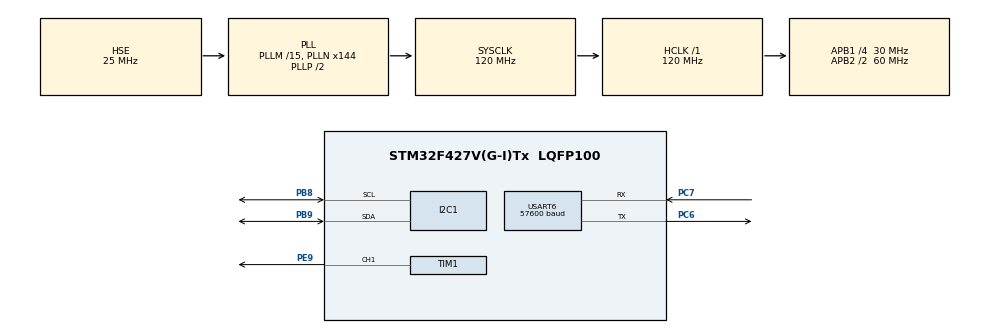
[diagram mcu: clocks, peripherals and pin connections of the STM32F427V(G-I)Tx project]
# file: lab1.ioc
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I2C1.I2C_Mode=I2C_Fast
Mcu.Family=STM32F4
Mcu.Name=STM32F427V(G-I)Tx
Mcu.Package=LQFP100
NVIC.PriorityGroup=NVIC_PRIORITYGROUP_4
NVIC.TIM6_DAC_IRQn=true\:0\:0\:false\:false\:true\:true\:true\:true
NVIC.USART6_IRQn=true\:0\:0\:false\:false\:true\:true\:true\:true
PA13.Mode=JTAG_5_pins
PA13.Signal=SYS_JTMS-SWDIO
PA14.Mode=JTAG_5_pins
PA14.Signal=SYS_JTCK-SWCLK
PA15.Mode=JTAG_5_pins
PA15.Signal=SYS_JTDI
PB3.Mode=JTAG_5_pins
PB3.Signal=SYS_JTDO-SWO
PB4.Mode=JTAG_5_pins
PB4.Signal=SYS_JTRST
PB8.Mode=I2C
PB8.Signal=I2C1_SCL
PB9.Mode=I2C
PB9.Signal=I2C1_SDA
PC6.Mode=Asynchronous
PC6.Signal=USART6_TX
PC7.Mode=Asynchronous
PC7.Signal=USART6_RX
PE9.Signal=S_TIM1_CH1
PH0/OSC_IN.Mode=HSE-External-Oscillator
PH0/OSC_IN.Signal=RCC_OSC_IN
PH1/OSC_OUT.Mode=HSE-External-Oscillator
PH1/OSC_OUT.Signal=RCC_OSC_OUT
ProjectManager.HeapSize=0x200
ProjectManager.StackSize=0x400
ProjectManager.TargetToolchain=STM32CubeIDE
RCC.48MHZClocksFreq_Value=60000000
RCC.AHBFreq_Value=120000000
RCC.APB1CLKDivider=RCC_HCLK_DIV4
RCC.APB1Freq_Value=30000000
RCC.APB1TimFreq_Value=60000000
RCC.APB2CLKDivider=RCC_HCLK_DIV2
RCC.APB2Freq_Value=60000000
RCC.APB2TimFreq_Value=120000000
RCC.CortexFreq_Value=120000000
RCC.HCLKFreq_Value=120000000
RCC.HSE_VALUE=25000000
RCC.HSI_VALUE=16000000
RCC.LSE_VALUE=32768
RCC.PLLM=15
RCC.PLLN=144
RCC.PLLSourceVirtual=RCC_PLLSOURCE_HSE
RCC.SYSCLKFreq_VALUE=120000000
RCC.SYSCLKSource=RCC_SYSCLKSOURCE_PLLCLK
RCC.VCOOutputFreq_Value=240000000
SH.S_TIM1_CH1.0=TIM1_CH1,PWM Generation1 CH1
TIM1.Channel-PWM\ Generation1\ CH1=TIM_CHANNEL_1
TIM1.Period=999
TIM1.Prescaler=119
TIM1.Pulse-PWM\ Generation1\ CH1=500
TIM6.Period=59999
TIM6.Prescaler=9
USART6.BaudRate=57600
USART6.VirtualMode=VM_ASYNC
VP_TIM1_VS_ClockSourceINT.Mode=Internal
VP_TIM6_VS_ClockSourceINT.Mode=Enable_Timer
board=custom

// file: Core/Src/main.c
/* USER CODE BEGIN Header */

/**
  ******************************************************************************
  * @file           : main.c
  * @brief          : Main program body
  ******************************************************************************
  * @attention
  *
  * Copyright (c) 2024 STMicroelectronics.
  * All rights reserved.
  *
  * This software is licensed under terms that can be found in the LICENSE file
  * in the root directory of this software component.
  * If no LICENSE file comes with this software, it is provided AS-IS.
  *
  ******************************************************************************
  */
/* USER CODE END Header */
#include "main.h"
#include "i2c.h"
#include "tim.h"
#include "usart.h"
#include "gpio.h"

/* USER CODE BEGIN Includes */

#include "constants.h"
#include "drivers/pins.h"
#include "drivers/uart_blocking_driver.h"
#include "drivers/uart_interrupt_driver.h"
#include "utils/buffer.h"
#include "utils/string_utils.h"
#include <string.h>
#include <stdio.h>
#include <stdlib.h>

/* USER CODE END Includes */

/* USER CODE BEGIN PD */

#define KB_I2C_ADDRESS (0xE2)
#define KB_INPUT_REG (0x0)
#define KB_OUTPUT_REG (0x1)
#define KB_CONFIG_REG (0x3)
#define KB_KEY_DEBOUNCE_TIME (50)

/* USER CODE END PD */

void SystemClock_Config(void);

/* USER CODE BEGIN 0 */

struct TransmitionState irq_state = {
	 .is_active = 0
};

struct ReadBuffer read_buffer = {
	.content = (uint8_t*) "\0"
};

float calculate_note_freq(uint8_t note, uint8_t octave) {
	float factor = 1.0 / 16;
	for (int i = 1; i < octave; i++) {
		factor *= 2;
	}
	float note_freq = 0;
	if (note == 1) note_freq = NOTE_DO;
	else if (note == 2) note_freq = NOTE_RE;
	else if (note == 3) note_freq = NOTE_MI;
	else if (note == 4) note_freq = NOTE_FA;
	else if (note == 5) note_freq = NOTE_SO;
	else if (note == 6) note_freq = NOTE_LA;
	else if (note == 7) note_freq = NOTE_SI;
	return factor * note_freq;
}

void HAL_UART_TxCpltCallback(UART_HandleTypeDef *huart) {
  uint8_t temp_buffer[1000];
  int string_length = 0;
  while (!is_queue_empty()) {
	  temp_buffer[string_length++] = take_element_from_queue();
  }
  if (string_length > 0) {
	  HAL_UART_Transmit_IT(&huart6, temp_buffer, string_length);
  } else {
	  irq_state.is_active = 0;
  }
}

void HAL_UART_RxCpltCallback(UART_HandleTypeDef *huart) {
	receive_uart_interrupt_cb(&read_buffer, &irq_state);
}

// business logic starts here

/*
 * set interrupts on или set interrupts off – включить или выключить прерывания.
 */
uint8_t interrupts_mode = 1;

void print(char* content) {
	size_t length = strlen(content);
	if (interrupts_mode) {
		transmit_uart_interrupt((uint8_t *) content, length, &irq_state);
	} else {
		transmit_uart_blocking((uint8_t *) content, length);
	}
}

uint8_t read() {
	if (interrupts_mode) {
		receive_uart_interrupt();
		return 1;
	} else {
		return receive_uart_blocking(&read_buffer);
	}
}

static uint8_t note = 1;
static uint8_t octave = 5;
static uint32_t playtime = 1000;
static uint32_t notes_played_ms = 0;
static uint8_t notes_count = 1;

void play_note() {

	if (note == 0 || octave == 0) {
		htim1.Instance->CCR1 = 0;
	} else {
		htim1.Instance->ARR = 120 * 1000 * 1000 / (calculate_note_freq(note, octave) * htim1.Instance->PSC) - 1;
		htim1.Instance->CCR1 = htim1.Instance->ARR >> 1;
	}
}

void change_note(uint8_t new_note) {
	note = new_note;
}

void HAL_TIM_PeriodElapsedCallback(TIM_HandleTypeDef *htim) {
	if (htim->Instance == TIM6) {
		notes_played_ms += htim->Instance->PSC + 1;

		if (notes_count == 1) {
			if (notes_played_ms > playtime) {
				change_note(0);
			}
		} else if (notes_count == 7) {
			if (notes_played_ms / playtime >= 7) {
				change_note(0);
			} else {
				change_note(1 + notes_played_ms / playtime);
			}
		}
		play_note();
	}
}

void increase_octave() {
	print("\n");
	if (octave < 9) {
		octave += 1;
		char sprintf_buffer[100];
		sprintf(sprintf_buffer, "Octave number increased to %d.\n", octave);
		print(sprintf_buffer);
	} else {
		print("Octave number cannot be greater than 9.\n");
	}
}

void decrease_octave() {
	print("\n");
	if (octave > 1) {
		octave -= 1;
		char sprintf_buffer[100];
		sprintf(sprintf_buffer, "Octave number decreased to %d.\n", octave);
		print(sprintf_buffer);
	} else {
		print("Octave number cannot be less than 1.\n");
	}
}

void increase_playtime() {
	print("\n");
	char sprintf_buffer[100];
	if (playtime < MAX_TIME) {
		playtime += 100;
		sprintf(sprintf_buffer, "Playback time increased to %d ms.\n", (int)playtime);
	} else {
		sprintf(sprintf_buffer, "Playback time cannot exceed %d ms.\n", MAX_TIME);
	}
	print(sprintf_buffer);
}

void decrease_playtime() {
	print("\n");
	char sprintf_buffer[100];
		if (playtime > MIN_TIME) {
			playtime -= 100;
			sprintf(sprintf_buffer, "Playback time decreased to %d ms.\n", (int)playtime);
		} else {
			sprintf(sprintf_buffer, "Playback time cannot be less than %d ms.\n", MIN_TIME);
		}
		print(sprintf_buffer);
}

void play_notes() {
	print("Playing notes in order\n");
	notes_count = 7;
	notes_played_ms = 0;
}

uint32_t last_pressing_time = 0;
int8_t last_pressed = -1;

int rows[4] = {0, 0, 0, 0};
int cols[3] = {0, 0, 0};

int get_pressed_btn_index(){
	const uint32_t t = HAL_GetTick();
	if (t - last_pressing_time < KB_KEY_DEBOUNCE_TIME) return -1;

	int8_t index = -1;
	uint8_t read_buffer = ~0;
	uint8_t default_config = ~0;
	uint8_t tmp = 0;
	int8_t column = -1;
	int8_t was_pressed_on_row = 0;

	HAL_I2C_Mem_Write(&hi2c1, KB_I2C_ADDRESS, KB_OUTPUT_REG, 1, &tmp, 1, 100);
	HAL_Delay(5);
	for (int row = 0; row < 4; row++) {
		uint8_t buf = ~((uint8_t) (1 << row));
		HAL_I2C_Mem_Write(&hi2c1, KB_I2C_ADDRESS, KB_CONFIG_REG, 1, &buf, 1, 100);
		HAL_Delay(5);
		HAL_I2C_Mem_Read(&hi2c1, KB_I2C_ADDRESS, KB_INPUT_REG, 1, &read_buffer, 1, 100);
		column = -1;
		switch (read_buffer >> 4) {
			case 6: column = 0; break;
			case 5: column = 1; break;
			case 3: column = 2; break;
		}
		if (column != -1) {
			if (!was_pressed_on_row) {
				index = row * 3 + column + 1;
			} else {
				index = -1;
			}
			rows[row] += 1;
			cols[column] += 1;
			was_pressed_on_row += 1;
		}
		HAL_Delay(5);
	}

	if (index == last_pressed) {
		return -1;
	}
	last_pressed = index;

	int s1 = 0; int s2 = 0;
	for (int i = 0; i < 4; i++) {
		s1 += rows[i];
		rows[i] = 0;
	}
	for (int i = 0; i < 3; i++) {
		s2 += cols[i];
		cols[i] = 0;
	}

	if (s1 != 1 && s2 != 1) {
		return -1;
	}
	last_pressing_time = t;

	return index;
}

/* USER CODE END 0 */

int main(void)
{

  /* MCU Configuration--------------------------------------------------------*/

  /* Reset of all peripherals, Initializes the Flash interface and the Systick. */
  HAL_Init();

  /* USER CODE BEGIN Init */
  __HAL_RCC_GPIOA_CLK_ENABLE();

  /* USER CODE END Init */

  /* Configure the system clock */
  SystemClock_Config();

  /* Initialize all configured peripherals */
  MX_GPIO_Init();
  MX_USART6_UART_Init();
  MX_TIM6_Init();
  MX_TIM1_Init();
  MX_I2C1_Init();
  /* USER CODE BEGIN 2 */

  HAL_TIM_Base_Start_IT(&htim6);
  HAL_TIM_PWM_Start(&htim1, TIM_CHANNEL_1);

  GPIO_InitTypeDef GPIO_InitStruct = {0};

  __HAL_RCC_GPIOC_CLK_ENABLE();
  __HAL_RCC_GPIOH_CLK_ENABLE();
  __HAL_RCC_GPIOD_CLK_ENABLE();
  __HAL_RCC_GPIOA_CLK_ENABLE();
  __HAL_RCC_GPIOB_CLK_ENABLE();

	  GPIO_InitStruct.Pin = GPIO_PIN_15;
	  GPIO_InitStruct.Mode = GPIO_MODE_INPUT;
	  GPIO_InitStruct.Pull = GPIO_NOPULL;
	  HAL_GPIO_Init(GPIOC, &GPIO_InitStruct);

	  GPIO_InitStruct.Pin = GPIO_PIN_13|GPIO_PIN_14|GPIO_PIN_15|GPIO_PIN_0;
	  GPIO_InitStruct.Mode = GPIO_MODE_OUTPUT_PP;
	  GPIO_InitStruct.Pull = GPIO_NOPULL;
	  GPIO_InitStruct.Speed = GPIO_SPEED_FREQ_LOW;
	  HAL_GPIO_Init(GPIOD, &GPIO_InitStruct);

  static uint8_t received_buffer_empty[2] = "\0\0";

  // 0 - print, not execute
  // 1 - print and execute
  int kb_mode = 0;

  /* USER CODE END 2 */

  /* Infinite loop */
  while (1)
  {

    /* USER CODE BEGIN 3 */

	  int command = get_pressed_btn_index();

	  if (command != -1 && kb_mode) {
		char sprintf_buffer[100];
		sprintf(sprintf_buffer, "Pressed button on matrix keyboard: %d\n", command);
		print(sprintf_buffer);
	  }

	  int is_button = is_button_clicked();

	  if (is_button) {
		  kb_mode = !kb_mode;
		  if (kb_mode) {
			  print("Enabled debug mode.\n");
		  } else {
			  print("Disabled debug mode.\n");
		  }
	  }

	  if (kb_mode) continue;

	  	if (command >= 1 && command <= 7) {
			notes_count = 1;
			notes_played_ms = 0;
			change_note(command);

			char sprintf_buffer[100];
			sprintf(sprintf_buffer, "\nPlaying note #%d on octave %d in %dms.\n", note, octave, playtime);
			print(sprintf_buffer);

		} else if (command == 8) {
			increase_octave();
		} else if (command == 9) {
			decrease_octave();
		} else if (command == 10) {
			increase_playtime();
		} else if (command == 11) {
			decrease_playtime();
		} else if (command == 12) {
			play_notes();
		}
	}

  /* USER CODE END 3 */
}

void SystemClock_Config(void)
{
  RCC_OscInitTypeDef RCC_OscInitStruct = {0};
  RCC_ClkInitTypeDef RCC_ClkInitStruct = {0};

  /** Configure the main internal regulator output voltage
  */
  __HAL_RCC_PWR_CLK_ENABLE();
  __HAL_PWR_VOLTAGESCALING_CONFIG(PWR_REGULATOR_VOLTAGE_SCALE3);

  /** Initializes the RCC Oscillators according to the specified parameters
  * in the RCC_OscInitTypeDef structure.
  */
  RCC_OscInitStruct.OscillatorType = RCC_OSCILLATORTYPE_HSE;
  RCC_OscInitStruct.HSEState = RCC_HSE_ON;
  RCC_OscInitStruct.PLL.PLLState = RCC_PLL_ON;
  RCC_OscInitStruct.PLL.PLLSource = RCC_PLLSOURCE_HSE;
  RCC_OscInitStruct.PLL.PLLM = 15;
  RCC_OscInitStruct.PLL.PLLN = 144;
  RCC_OscInitStruct.PLL.PLLP = RCC_PLLP_DIV2;
  RCC_OscInitStruct.PLL.PLLQ = 4;
  if (HAL_RCC_OscConfig(&RCC_OscInitStruct) != HAL_OK)
  {
    Error_Handler();
  }

  /** Initializes the CPU, AHB and APB buses clocks
  */
  RCC_ClkInitStruct.ClockType = RCC_CLOCKTYPE_HCLK|RCC_CLOCKTYPE_SYSCLK
                              |RCC_CLOCKTYPE_PCLK1|RCC_CLOCKTYPE_PCLK2;
  RCC_ClkInitStruct.SYSCLKSource = RCC_SYSCLKSOURCE_PLLCLK;
  RCC_ClkInitStruct.AHBCLKDivider = RCC_SYSCLK_DIV1;
  RCC_ClkInitStruct.APB1CLKDivider = RCC_HCLK_DIV4;
  RCC_ClkInitStruct.APB2CLKDivider = RCC_HCLK_DIV2;

  if (HAL_RCC_ClockConfig(&RCC_ClkInitStruct, FLASH_LATENCY_3) != HAL_OK)
  {
    Error_Handler();
  }
}

void Error_Handler(void)
{
  __disable_irq();
  while (1)
  {
  }
}
